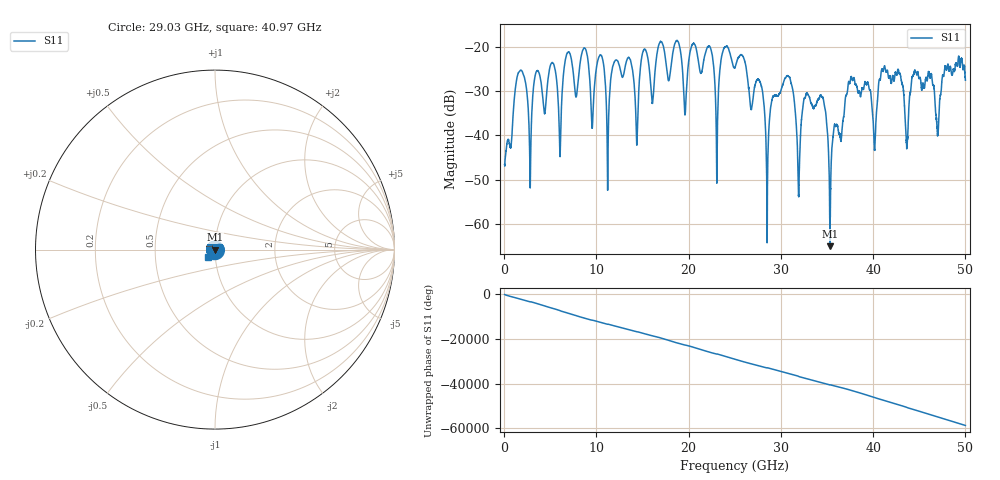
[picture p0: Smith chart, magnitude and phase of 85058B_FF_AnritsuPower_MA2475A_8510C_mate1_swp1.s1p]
!Created with skrf (http://scikit-rf.org).
# Hz S RI R 50.0
!freq ReS11 ImS11
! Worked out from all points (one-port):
!   10001 points, 45 MHz to 50 GHz, reference 50 ohm
!   lowest |S11| = -64.9 dB at 35.33 GHz (marker M1), VSWR 1.00, Z = 50 + j0.0458 ohm
!   |S11| at or under -10 dB: start of sweep to end of sweep
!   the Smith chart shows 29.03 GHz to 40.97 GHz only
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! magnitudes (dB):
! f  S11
! 45 MHz  -46.5
! 1.679 GHz  -25.5
! 2.793 GHz  -49.0
! 3.552 GHz  -25.4
! 6.289 GHz  -30.1
! 10.45 GHz  -21.9
! 11.24 GHz  -46.1
! 12.53 GHz  -24.7
! 14.37 GHz  -41.8
! 15.13 GHz  -20.7
! 18.78 GHz  -18.7
! 19.61 GHz  -35.3
! 22.3 GHz  -20.0
! 23.05 GHz  -50.8
! 23.78 GHz  -20.5
! 25.02 GHz  -24.7
! 27.76 GHz  -28.1
! 28.51 GHz  -61.3
! 31.27 GHz  -29.6
! 31.92 GHz  -53.5
! 34.48 GHz  -31.3
! 35.33 GHz  -64.9
! 37.51 GHz  -27.9
! 42.73 GHz  -25.3
! 43.76 GHz  -39.4
! 44.45 GHz  -25.8
! 46.95 GHz  -39.0
! 50 GHz  -27.6
